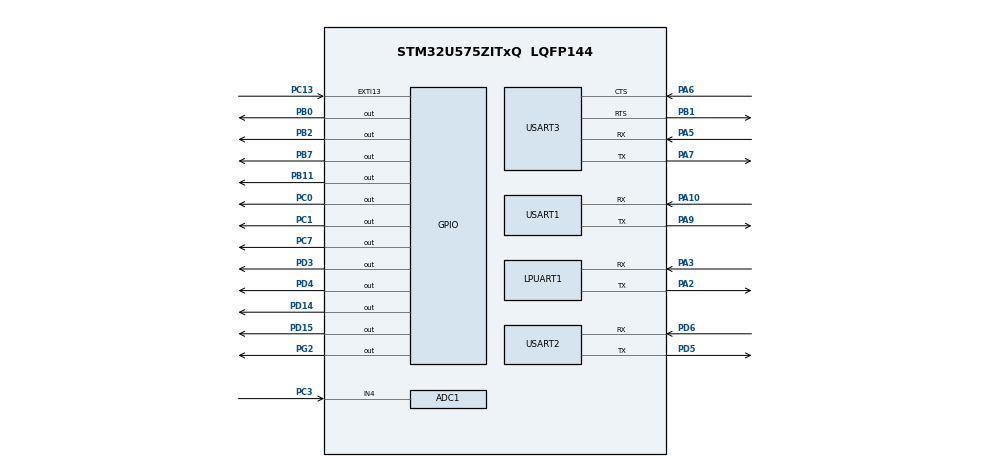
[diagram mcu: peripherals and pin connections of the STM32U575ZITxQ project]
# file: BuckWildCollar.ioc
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ADC1.NbrOfConversion=1
ADC1.master=1
CORTEX_M33_NS.userName=CORTEX_M33
Mcu.Family=STM32U5
Mcu.Name=STM32U575ZITxQ
Mcu.Package=LQFP144
NUCLEO-U575ZI-Q.BUTTON=1
NUCLEO-U575ZI-Q.LD1=true
NUCLEO-U575ZI-Q.LD2=true
NUCLEO-U575ZI-Q.LD3=true
NVIC.ADC1_IRQn=true\:0\:0\:false\:false\:true\:true\:true\:true
NVIC.EXTI13_IRQn=true\:0\:0\:false\:false\:true\:false\:true\:true
NVIC.LPUART1_IRQn=true\:0\:0\:false\:false\:true\:true\:true\:true
NVIC.PriorityGroup=NVIC_PRIORITYGROUP_3
NVIC.TIM17_IRQn=true\:7\:0\:false\:false\:true\:false\:true\:true
NVIC.TimeBase=TIM17_IRQn
NVIC.TimeBaseIP=TIM17
NVIC.USART1_IRQn=true\:0\:0\:false\:false\:true\:true\:true\:true
NVIC.USART3_IRQn=true\:0\:0\:false\:false\:true\:true\:true\:true
PA10.Mode=Asynchronous
PA10.Signal=USART1_RX
PA13\ (JTMS/SWDIO).Signal=DEBUG_JTMS-SWDIO
PA14\ (JTCK/SWCLK).Signal=DEBUG_JTCK-SWCLK
PA2.Mode=Asynchronous
PA2.Signal=LPUART1_TX
PA3.Mode=Asynchronous
PA3.Signal=LPUART1_RX
PA5.Mode=Asynchronous
PA5.Signal=USART3_RX
PA6.Mode=CTS_RTS
PA6.Signal=USART3_CTS
PA7.Mode=Asynchronous
PA7.Signal=USART3_TX
PA9.Mode=Asynchronous
PA9.Signal=USART1_TX
PB0.Signal=GPIO_Output
PB1.Mode=CTS_RTS
PB1.Signal=USART3_RTS
PB11.Signal=GPIO_Output
PB2.Signal=GPIO_Output
PB3\ (JTDO/TRACESWO).Signal=DEBUG_JTDO-SWO
PB7.Signal=GPIO_Output
PC0.Signal=GPIO_Output
PC1.Signal=GPIO_Output
PC13.Signal=GPXTI13
PC14-OSC32_IN\ (PC14).Signal=RCC_OSC32_IN
PC15-OSC32_OUT\ (PC15).Signal=RCC_OSC32_OUT
PC3.Mode=IN4-Single-Ended
PC3.Signal=ADC1_IN4
PC7.Signal=GPIO_Output
PD14.Signal=GPIO_Output
PD15.Signal=GPIO_Output
PD3.Signal=GPIO_Output
PD4.Signal=GPIO_Output
PD5.Mode=Asynchronous
PD5.Signal=USART2_TX
PD6.Mode=Asynchronous
PD6.Signal=USART2_RX
PG2.Signal=GPIO_Output
PWR.PowerMode=PWR_SMPS_SUPPLY
ProjectManager.HeapSize=0x200
ProjectManager.StackSize=0x400
ProjectManager.TargetToolchain=STM32CubeIDE
RCC.ADCFreq_Value=16000000
RCC.DACCLockSelectionVirtual=RCC_DAC1CLKSOURCE_LSI
RCC.EPOD_VALUE=4000000
RCC.HSE_VALUE=16000000
RCC.HSI48_VALUE=48000000
RCC.HSI_VALUE=16000000
RCC.LSE_VALUE=32768
RCC.LSIDIV_VALUE=32000
RCC.MSI_VALUE=4000000
RCC.USBFreq_Value=48000000
RCC.VCOOutputFreq_Value=516000000
USART1.VirtualMode-Asynchronous=VM_ASYNC
USART2.VirtualMode-Asynchronous=VM_ASYNC
USART3.VirtualMode-Asynchronous=VM_ASYNC
VP_ICACHE_VS_ENABLE_ICACHE_MEMORY.Mode=Memoryregions
VP_ICACHE_VS_ICACHE.Mode=DirectMappedCache
VP_LPBAMQUEUE_VS_QUEUE.Mode=QUEUEMODE
VP_LPBAM_VS_SIG1.Mode=SmartRun
VP_LPBAM_VS_SIG4.Mode=LPDMA1
VP_MEMORYMAP_VS_MEMORYMAP.Mode=CurAppReg
VP_NUCLEO-U575ZI-Q_VS_BSP_COMMON.Mode=COMMON
VP_PWR_VS_DBSignals.Mode=DisableDeadBatterySignals
VP_PWR_VS_LPOM.Mode=PowerOptimisation
VP_PWR_VS_SECSignals.Mode=Security/Privilege
VP_PWR_Vdda.Mode=isolationVdda
VP_SYS_VS_tim17.Mode=TIM17
board=NUCLEO-U575ZI-Q

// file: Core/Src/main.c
/* USER CODE BEGIN Header */
/**
  ******************************************************************************
  * @file           : main.c
  * @brief          : Main program body
  ******************************************************************************
  * @attention
  *
  * Copyright (c) 2026 STMicroelectronics.
  * All rights reserved.
  *
  * This software is licensed under terms that can be found in the LICENSE file
  * in the root directory of this software component.
  * If no LICENSE file comes with this software, it is provided AS-IS.
  *
  ******************************************************************************
  */
/* USER CODE END Header */
#include "main.h"
#include "adc.h"
#include "icache.h"
#include "usart.h"
#include "gpio.h"

/* USER CODE BEGIN Includes */

// stdlib Includes
#include <math.h>
#include <stdarg.h>
#include <stdbool.h>
#include <stdint.h>
#include <stdio.h>
#include <stdlib.h>
#include <string.h>

#define BUFFER_SIZE 64

// external libraries
//#include "bno055.h"
//#include "bno_config.h"

typedef enum{
	idle,
	button_pressed,
	active,
	orientation_receive,
	adc_receive,
} Microcontroller_State;

// Useful Variables
uint8_t uart1_tx_buffer[BUFFER_SIZE] = "Error: Initial TX1 String\r\n";
uint8_t uart1_rx_buffer[BUFFER_SIZE] = "Error: Initial RX1 String\r\n";
uint8_t uart2_tx_buffer[BUFFER_SIZE] = "Error: Initial TX2 String\r\n";
uint8_t uart2_rx_buffer[BUFFER_SIZE] = ""; // "Error: Initial RX2 String\r\n";

// ADC
// 14-bit = 16384 MAX
static int adc_resistor; // Display value directly from the ADC
static int force_resistor; // Display pseudo "resistance value"

//BNO055
//bno055_t bno;
//error_bno err;

static uint8_t empty_array[BUFFER_SIZE] = "";

// Prototypes

static void print(const char *fmt, ...);
static int Get_ADC();

// Functions

static void print(const char *fmt, ...) {
	// Function to print messages through microUSB USART1 channel - displays on TeraTerm at 115200 baud
	// Function to print messages through USART1
	// Outputs through microUSB to laptop, 115200 baud
	// Use for sending debug messages to terminal
	// Set up in the console tab on bottom, and then on the bottom right of screen click the icon to the left of the minus sign (white box with blue on top)
	// Then, do command shell console, and set Serial with 115200 baud.
  static char buffer[256];
  va_list args;
  va_start(args, fmt);
  vsnprintf(buffer, sizeof(buffer), fmt, args);
  va_end(args);

  int len = strlen(buffer);
  HAL_UART_Transmit(&huart1, (uint8_t *)buffer, len, -1);
  return;
}

static int Get_ADC(){
	//TODO: Add Calibration for Max / Min
	// Get ADC value and put into global variable force_resistor

	HAL_ADC_Start(&hadc1); // Start polling
	HAL_ADC_PollForConversion(&hadc1, 1); // Check Timeout or switch to IT based
	adc_resistor = HAL_ADC_GetValue(&hadc1); // Take ADC Value
	HAL_ADC_Stop(&hadc1); // Stop polling

	force_resistor = adc_resistor; // TODO: Convert from adc_resistor to "resistance" value.
	return force_resistor;
}

void HAL_ADC_ConvCpltCallback(ADC_HandleTypeDef *hadc) {
  return; // ADC Callback for Later Use??
}

/* USER CODE END Includes */

void SystemClock_Config(void);
static void SystemPower_Config(void);

int main(void)
{

  /* MCU Configuration--------------------------------------------------------*/

  /* Reset of all peripherals, Initializes the Flash interface and the Systick. */
  HAL_Init();

  /* Configure the System Power */
  SystemPower_Config();

  /* Configure the system clock */
  SystemClock_Config();

  /* Initialize all configured peripherals */
  MX_GPIO_Init();
  MX_ICACHE_Init();
  MX_ADC1_Init();
  MX_LPUART1_UART_Init();
  MX_USART1_UART_Init();
  MX_USART2_UART_Init();
  MX_USART3_UART_Init();

  /* Initialize leds */
  BSP_LED_Init(LED_GREEN);
  BSP_LED_Init(LED_BLUE);
  BSP_LED_Init(LED_RED);

  /* Initialize USER push-button, will be used to trigger an interrupt each time it's pressed.*/
  BSP_PB_Init(BUTTON_USER, BUTTON_MODE_EXTI);

  /* Infinite loop */
  /* USER CODE BEGIN WHILE */

  print("Entered Main Loop");
  while(1){

  }

    /* USER CODE END WHILE */
}

void SystemClock_Config(void)
{
  RCC_OscInitTypeDef RCC_OscInitStruct = {0};
  RCC_ClkInitTypeDef RCC_ClkInitStruct = {0};

  /** Configure the main internal regulator output voltage
  */
  if (HAL_PWREx_ControlVoltageScaling(PWR_REGULATOR_VOLTAGE_SCALE4) != HAL_OK)
  {
    Error_Handler();
  }

  /** Initializes the CPU, AHB and APB buses clocks
  */
  RCC_OscInitStruct.OscillatorType = RCC_OSCILLATORTYPE_HSI|RCC_OSCILLATORTYPE_MSI;
  RCC_OscInitStruct.HSIState = RCC_HSI_ON;
  RCC_OscInitStruct.HSICalibrationValue = RCC_HSICALIBRATION_DEFAULT;
  RCC_OscInitStruct.MSIState = RCC_MSI_ON;
  RCC_OscInitStruct.MSICalibrationValue = RCC_MSICALIBRATION_DEFAULT;
  RCC_OscInitStruct.MSIClockRange = RCC_MSIRANGE_4;
  RCC_OscInitStruct.PLL.PLLState = RCC_PLL_NONE;
  if (HAL_RCC_OscConfig(&RCC_OscInitStruct) != HAL_OK)
  {
    Error_Handler();
  }

  /** Initializes the CPU, AHB and APB buses clocks
  */
  RCC_ClkInitStruct.ClockType = RCC_CLOCKTYPE_HCLK|RCC_CLOCKTYPE_SYSCLK
                              |RCC_CLOCKTYPE_PCLK1|RCC_CLOCKTYPE_PCLK2
                              |RCC_CLOCKTYPE_PCLK3;
  RCC_ClkInitStruct.SYSCLKSource = RCC_SYSCLKSOURCE_MSI;
  RCC_ClkInitStruct.AHBCLKDivider = RCC_SYSCLK_DIV1;
  RCC_ClkInitStruct.APB1CLKDivider = RCC_HCLK_DIV1;
  RCC_ClkInitStruct.APB2CLKDivider = RCC_HCLK_DIV1;
  RCC_ClkInitStruct.APB3CLKDivider = RCC_HCLK_DIV1;

  if (HAL_RCC_ClockConfig(&RCC_ClkInitStruct, FLASH_LATENCY_0) != HAL_OK)
  {
    Error_Handler();
  }
}

/**
  * @brief Power Configuration
  * @retval None
  */
static void SystemPower_Config(void)
{

  /*
   * Disable the internal Pull-Up in Dead Battery pins of UCPD peripheral
   */
  HAL_PWREx_DisableUCPDDeadBattery();

  /*
   * Switch to SMPS regulator instead of LDO
   */
  if (HAL_PWREx_ConfigSupply(PWR_SMPS_SUPPLY) != HAL_OK)
  {
    Error_Handler();
  }
}

void HAL_TIM_PeriodElapsedCallback(TIM_HandleTypeDef *htim)
{
  if (htim->Instance == TIM17)
  {
    HAL_IncTick();
  }
}

void Error_Handler(void)
{
  __disable_irq();
  while (1)
  {
  }
}
